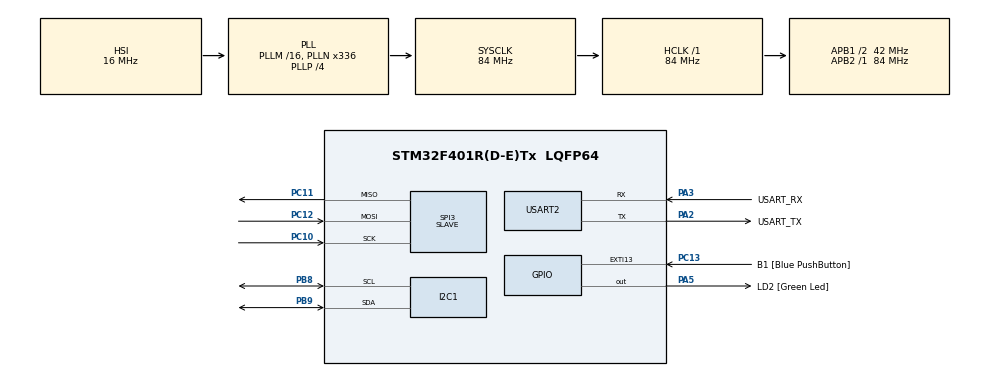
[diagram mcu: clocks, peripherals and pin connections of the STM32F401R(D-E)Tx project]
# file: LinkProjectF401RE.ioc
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FREERTOS.BinarySemaphores01=myBinarySem01,Dynamic,NULL
FREERTOS.Tasks01=defaultTask,0,128,StartDefaultTask,Default,NULL
I2C1.OwnAddress=0x42
Mcu.Family=STM32F4
Mcu.Name=STM32F401R(D-E)Tx
Mcu.Package=LQFP64
NVIC.PriorityGroup=NVIC_PRIORITYGROUP_4
NVIC.SPI3_IRQn=true\:5\:0\:false\:false\:true\:true\:true
NVIC.USART2_IRQn=true\:5\:0\:false\:false\:true\:true\:true
PA13.GPIO_Label=TMS
PA13.Mode=Serial_Wire
PA13.Signal=SYS_JTMS-SWDIO
PA14.GPIO_Label=TCK
PA14.Mode=Serial_Wire
PA14.Signal=SYS_JTCK-SWCLK
PA2.GPIO_Label=USART_TX
PA2.GPIO_Mode=GPIO_MODE_AF_PP
PA2.GPIO_PuPd=GPIO_NOPULL
PA2.GPIO_Speed=GPIO_SPEED_FREQ_LOW
PA2.Mode=Asynchronous
PA2.Signal=USART2_TX
PA3.GPIO_Label=USART_RX
PA3.GPIO_Mode=GPIO_MODE_AF_PP
PA3.GPIO_PuPd=GPIO_NOPULL
PA3.GPIO_Speed=GPIO_SPEED_FREQ_LOW
PA3.Mode=Asynchronous
PA3.Signal=USART2_RX
PA5.GPIO_Label=LD2 [Green Led]
PA5.GPIO_Mode=GPIO_MODE_OUTPUT_PP
PA5.GPIO_PuPd=GPIO_NOPULL
PA5.GPIO_Speed=GPIO_SPEED_FREQ_LOW
PA5.Signal=GPIO_Output
PB3.GPIO_Label=SWO
PB3.Signal=SYS_JTDO-SWO
PB8.Mode=I2C
PB8.Signal=I2C1_SCL
PB9.Mode=I2C
PB9.Signal=I2C1_SDA
PC10.Mode=Full_Duplex_Slave
PC10.Signal=SPI3_SCK
PC11.Mode=Full_Duplex_Slave
PC11.Signal=SPI3_MISO
PC12.Mode=Full_Duplex_Slave
PC12.Signal=SPI3_MOSI
PC13-ANTI_TAMP.GPIO_Label=B1 [Blue PushButton]
PC13-ANTI_TAMP.GPIO_ModeDefaultEXTI=GPIO_MODE_IT_FALLING
PC13-ANTI_TAMP.GPIO_PuPd=GPIO_NOPULL
PC13-ANTI_TAMP.Signal=GPXTI13
PC14-OSC32_IN.Mode=LSE-External-Oscillator
PC14-OSC32_IN.Signal=RCC_OSC32_IN
PC15-OSC32_OUT.Mode=LSE-External-Oscillator
PC15-OSC32_OUT.Signal=RCC_OSC32_OUT
PH0\ -\ OSC_IN.Mode=HSE-External-Clock-Source
PH0\ -\ OSC_IN.Signal=RCC_OSC_IN
PH1\ -\ OSC_OUT.Mode=HSE-External-Clock-Source
PH1\ -\ OSC_OUT.Signal=RCC_OSC_OUT
ProjectManager.HeapSize=0x200
ProjectManager.StackSize=0x400
ProjectManager.TargetToolchain=EWARM
RCC.48MHZClocksFreq_Value=48000000
RCC.AHBFreq_Value=84000000
RCC.APB1CLKDivider=RCC_HCLK_DIV2
RCC.APB1Freq_Value=42000000
RCC.APB1TimFreq_Value=84000000
RCC.APB2Freq_Value=84000000
RCC.APB2TimFreq_Value=84000000
RCC.CortexFreq_Value=84000000
RCC.HCLKFreq_Value=84000000
RCC.HSE_VALUE=8000000
RCC.HSI_VALUE=16000000
RCC.PLLN=336
RCC.PLLP=RCC_PLLP_DIV4
RCC.PLLQ=7
RCC.SYSCLKFreq_VALUE=84000000
RCC.SYSCLKSource=RCC_SYSCLKSOURCE_PLLCLK
RCC.VCOOutputFreq_Value=336000000
SPI3.Direction=SPI_DIRECTION_2LINES
SPI3.Mode=SPI_MODE_SLAVE
SPI3.VirtualType=VM_SLAVE
USART2.VirtualMode=VM_ASYNC
VP_FREERTOS_VS_ENABLE.Mode=Enabled
board=NUCLEO-F401RE

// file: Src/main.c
#include "main.h"
#include "stm32f4xx_hal.h"
#include "cmsis_os.h"

I2C_HandleTypeDef hi2c1;

SPI_HandleTypeDef hspi3;

UART_HandleTypeDef huart2;

osThreadId defaultTaskHandle;
osSemaphoreId myBinarySem01Handle;

/* USER CODE BEGIN PV */
/* Private variables ---------------------------------------------------------*/
#define sizeBUFFER 2

typedef enum{
  THREAD_1 = 0,
  THREAD_2
} Thread_TypeDef;

osThreadId SPIReceiveHandle, I2CTransmitHandle;

osSemaphoreId xReceivingSPISemaphore;
osSemaphoreId xTransmitI2CSemaphore;

uint8_t tx_buff[sizeBUFFER];
uint8_t rx_buff[sizeBUFFER];

char buffer[1];
char buffer2[1];
/* USER CODE END PV */

void SystemClock_Config(void);
static void MX_GPIO_Init(void);
static void MX_USART2_UART_Init(void);
static void MX_I2C1_Init(void);
static void MX_SPI3_Init(void);
void StartDefaultTask(void const * argument);

/* USER CODE BEGIN PFP */
/* Private function prototypes -----------------------------------------------*/
static void I2C_Transmit(void const *argument);
static void SPI_Receive(void const *argument);
/* USER CODE END PFP */

int main(void)
{

  /* MCU Configuration----------------------------------------------------------*/

  /* Reset of all peripherals, Initializes the Flash interface and the Systick. */
  HAL_Init();

  /* Configure the system clock */
  SystemClock_Config();

  /* Initialize all configured peripherals */
  MX_GPIO_Init();
  MX_USART2_UART_Init();
  MX_I2C1_Init();
  MX_SPI3_Init();
  /* USER CODE BEGIN 2 */
//  HAL_SPI_Receive_IT(&hspi3, rx_buff, 2);
  /* USER CODE END 2 */

  /* Create the semaphores(s) */
  /* definition and creation of myBinarySem01 */
  osSemaphoreDef(myBinarySem01);
  myBinarySem01Handle = osSemaphoreCreate(osSemaphore(myBinarySem01), 1);

  /* USER CODE BEGIN RTOS_SEMAPHORES */
  xReceivingSPISemaphore = xSemaphoreCreateCounting(30,0);
  xTransmitI2CSemaphore = xSemaphoreCreateCounting(30,0);
  /* USER CODE END RTOS_SEMAPHORES */

  /* Create the thread(s) */
  /* definition and creation of defaultTask */
  osThreadDef(defaultTask, StartDefaultTask, osPriorityBelowNormal , 0, 128);
  defaultTaskHandle = osThreadCreate(osThread(defaultTask), NULL);

  /* USER CODE BEGIN RTOS_THREADS */

  osThreadDef(THREAD_1, SPI_Receive, osPriorityNormal, 0, configMINIMAL_STACK_SIZE);
  osThreadDef(THREAD_2, I2C_Transmit, osPriorityNormal , 0, configMINIMAL_STACK_SIZE);

  SPIReceiveHandle = osThreadCreate(osThread(THREAD_1), NULL);
  I2CTransmitHandle = osThreadCreate(osThread(THREAD_2), NULL);
  /* USER CODE END RTOS_THREADS */

  /* Start scheduler */
  osKernelStart();

  /* We should never get here as control is now taken by the scheduler */

  /* Infinite loop */
  while (1)
  {

  }

}

void SystemClock_Config(void)
{

  RCC_OscInitTypeDef RCC_OscInitStruct;
  RCC_ClkInitTypeDef RCC_ClkInitStruct;

    /**Configure the main internal regulator output voltage
    */
  __HAL_RCC_PWR_CLK_ENABLE();

  __HAL_PWR_VOLTAGESCALING_CONFIG(PWR_REGULATOR_VOLTAGE_SCALE2);

    /**Initializes the CPU, AHB and APB busses clocks
    */
  RCC_OscInitStruct.OscillatorType = RCC_OSCILLATORTYPE_HSI;
  RCC_OscInitStruct.HSIState = RCC_HSI_ON;
  RCC_OscInitStruct.HSICalibrationValue = 16;
  RCC_OscInitStruct.PLL.PLLState = RCC_PLL_ON;
  RCC_OscInitStruct.PLL.PLLSource = RCC_PLLSOURCE_HSI;
  RCC_OscInitStruct.PLL.PLLM = 16;
  RCC_OscInitStruct.PLL.PLLN = 336;
  RCC_OscInitStruct.PLL.PLLP = RCC_PLLP_DIV4;
  RCC_OscInitStruct.PLL.PLLQ = 7;
  if (HAL_RCC_OscConfig(&RCC_OscInitStruct) != HAL_OK)
  {
    _Error_Handler(__FILE__, __LINE__);
  }

    /**Initializes the CPU, AHB and APB busses clocks
    */
  RCC_ClkInitStruct.ClockType = RCC_CLOCKTYPE_HCLK|RCC_CLOCKTYPE_SYSCLK
                              |RCC_CLOCKTYPE_PCLK1|RCC_CLOCKTYPE_PCLK2;
  RCC_ClkInitStruct.SYSCLKSource = RCC_SYSCLKSOURCE_PLLCLK;
  RCC_ClkInitStruct.AHBCLKDivider = RCC_SYSCLK_DIV1;
  RCC_ClkInitStruct.APB1CLKDivider = RCC_HCLK_DIV2;
  RCC_ClkInitStruct.APB2CLKDivider = RCC_HCLK_DIV1;

  if (HAL_RCC_ClockConfig(&RCC_ClkInitStruct, FLASH_LATENCY_2) != HAL_OK)
  {
    _Error_Handler(__FILE__, __LINE__);
  }

    /**Configure the Systick interrupt time
    */
  HAL_SYSTICK_Config(HAL_RCC_GetHCLKFreq()/1000);

    /**Configure the Systick
    */
  HAL_SYSTICK_CLKSourceConfig(SYSTICK_CLKSOURCE_HCLK);

  /* SysTick_IRQn interrupt configuration */
  HAL_NVIC_SetPriority(SysTick_IRQn, 15, 0);
}

/* I2C1 init function */
static void MX_I2C1_Init(void)
{

  hi2c1.Instance = I2C1;
  hi2c1.Init.ClockSpeed = 100000;
  hi2c1.Init.DutyCycle = I2C_DUTYCYCLE_2;
  hi2c1.Init.OwnAddress1 = 132;
  hi2c1.Init.AddressingMode = I2C_ADDRESSINGMODE_7BIT;
  hi2c1.Init.DualAddressMode = I2C_DUALADDRESS_DISABLE;
  hi2c1.Init.OwnAddress2 = 0;
  hi2c1.Init.GeneralCallMode = I2C_GENERALCALL_DISABLE;
  hi2c1.Init.NoStretchMode = I2C_NOSTRETCH_DISABLE;
  if (HAL_I2C_Init(&hi2c1) != HAL_OK)
  {
    _Error_Handler(__FILE__, __LINE__);
  }

}

/* SPI3 init function */
static void MX_SPI3_Init(void)
{

  /* SPI3 parameter configuration*/
  hspi3.Instance = SPI3;
  hspi3.Init.Mode = SPI_MODE_SLAVE;
  hspi3.Init.Direction = SPI_DIRECTION_2LINES;
  hspi3.Init.DataSize = SPI_DATASIZE_8BIT;
  hspi3.Init.CLKPolarity = SPI_POLARITY_LOW;
  hspi3.Init.CLKPhase = SPI_PHASE_1EDGE;
  hspi3.Init.NSS = SPI_NSS_SOFT;
  hspi3.Init.FirstBit = SPI_FIRSTBIT_MSB;
  hspi3.Init.TIMode = SPI_TIMODE_DISABLE;
  hspi3.Init.CRCCalculation = SPI_CRCCALCULATION_DISABLE;
  hspi3.Init.CRCPolynomial = 7;
//  hspi3.RxISR = Handler_SPI_function;
  if (HAL_SPI_Init(&hspi3) != HAL_OK)
  {
    _Error_Handler(__FILE__, __LINE__);
  }

}

/* USART2 init function */
static void MX_USART2_UART_Init(void)
{

  huart2.Instance = USART2;
  huart2.Init.BaudRate = 9600;
  huart2.Init.WordLength = UART_WORDLENGTH_8B;
  huart2.Init.StopBits = UART_STOPBITS_1;
  huart2.Init.Parity = UART_PARITY_NONE;
  huart2.Init.Mode = UART_MODE_TX_RX;
  huart2.Init.HwFlowCtl = UART_HWCONTROL_NONE;
  huart2.Init.OverSampling = UART_OVERSAMPLING_16;
  if (HAL_UART_Init(&huart2) != HAL_OK)
  {
    _Error_Handler(__FILE__, __LINE__);
  }

}

/** Configure pins as
        * Analog
        * Input
        * Output
        * EVENT_OUT
        * EXTI
*/
static void MX_GPIO_Init(void)
{

  GPIO_InitTypeDef GPIO_InitStruct;

  /* GPIO Ports Clock Enable */
  __HAL_RCC_GPIOC_CLK_ENABLE();
  __HAL_RCC_GPIOH_CLK_ENABLE();
  __HAL_RCC_GPIOA_CLK_ENABLE();
  __HAL_RCC_GPIOB_CLK_ENABLE();

  /*Configure GPIO pin Output Level */
  HAL_GPIO_WritePin(LD2_GPIO_Port, LD2_Pin, GPIO_PIN_RESET);

  /*Configure GPIO pin : B1_Pin */
  GPIO_InitStruct.Pin = B1_Pin;
  GPIO_InitStruct.Mode = GPIO_MODE_IT_FALLING;
  GPIO_InitStruct.Pull = GPIO_NOPULL;
  HAL_GPIO_Init(B1_GPIO_Port, &GPIO_InitStruct);

  /*Configure GPIO pin : LD2_Pin */
  GPIO_InitStruct.Pin = LD2_Pin;
  GPIO_InitStruct.Mode = GPIO_MODE_OUTPUT_PP;
  GPIO_InitStruct.Pull = GPIO_NOPULL;
  GPIO_InitStruct.Speed = GPIO_SPEED_FREQ_LOW;
  HAL_GPIO_Init(LD2_GPIO_Port, &GPIO_InitStruct);

}

/* USER CODE BEGIN 4 */

static void SPI_Receive(void const * argument){

  for(;;){

      HAL_SPI_Receive_IT(&hspi3, rx_buff, 2);
      while(HAL_SPI_GetState(&hspi3) != HAL_SPI_STATE_READY);
      //osDelay(5);
      if (rx_buff[0] != 0){
        for(int i = 0; i < sizeBUFFER; i ++){
          tx_buff[i] = rx_buff[i];
          rx_buff[i] = 0;
        }
        HAL_GPIO_TogglePin(LD2_GPIO_Port, LD2_Pin);
        xSemaphoreGive(xTransmitI2CSemaphore);
        //HAL_GPIO_TogglePin(LD2_GPIO_Port, LD2_Pin);
  //      sprintf(buffer, "%d", tx_buff[0]);
  //      sprintf(buffer2, "%d", tx_buff[1]);
        //HAL_UART_Transmit(&huart2, tx_buff, sizeBUFFER, 100);

  //

    }
  }
}
static void I2C_Transmit(void const * argument){

  for(;;){
    //HAL_GPIO_TogglePin(LD2_GPIO_Port, LD2_Pin);
    if(xSemaphoreTake(xTransmitI2CSemaphore, portMAX_DELAY) == pdPASS){
      //sprintf(buffer, "%d", message[0]);
      HAL_UART_Transmit(&huart2, tx_buff, sizeBUFFER, 100);
      //HAL_UART_Transmit(&huart2, tx_buff, sizeBUFFER, 100);
      //osDelay(1);
      //HAL_UART_Transmit(&huart2, &tx_buff[1], 1, 100);
      //HAL_GPIO_TogglePin(LD2_GPIO_Port, LD2_Pin);
      //HAL_UART_Transmit(&huart2, (uint8_t *)buffer, 1, 100);
//      HAL_I2C_Master_Transmit(&hi2c1, 0x84, (uint8_t*)I2C_GPSR_D1, 3, 1000);
//      HAL_Delay(500);
//      HAL_I2C_Master_Transmit(&hi2c1, 0x84, (uint8_t*)I2C_GPSR_D2, 3, 1000);
    }
  }

}

/* USER CODE END 4 */

/* StartDefaultTask function */
void StartDefaultTask(void const * argument)
{

  for(;;)
  {
    osDelay(1);
  }
}

void _Error_Handler(char *file, int line)
{
  while(1)
  {
  }
}

/************************ (C) COPYRIGHT STMicroelectronics *****END OF FILE****/
